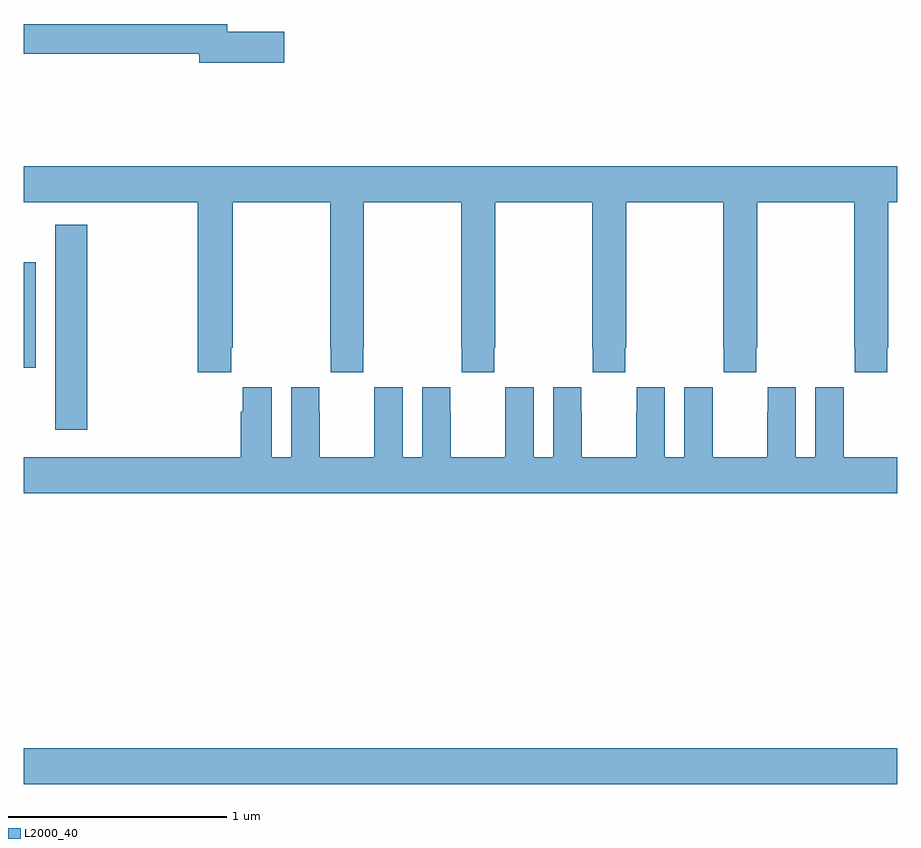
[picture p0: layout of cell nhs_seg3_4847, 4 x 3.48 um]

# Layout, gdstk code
import gdstk
lib = gdstk.Library(unit=1e-6, precision=1e-09)
def R(c, l, rs):  # rectangles x0, y0, x1, y1
    for r in rs: c.add(gdstk.rectangle(r[:2], r[2:], *l))
def P(c, l, *ps):  # polygons
    for p in ps: c.add(gdstk.Polygon(p, *l))
L2000_40 = (2000, 40)

nhs_seg3_4847 = lib.new_cell('nhs_seg3_4847')
R(nhs_seg3_4847, L2000_40, [(371,740.876,375,741.04), (371.144,742.497,371.291,743.437), (371,742.782,371.055,743.265)])
P(nhs_seg3_4847, L2000_40, [(372.193,744.32),(371.932,744.32),(371.932,744.356),(371,744.356),(371,744.22),(371.804,744.22),(371.804,744.178),(372.193,744.178)],
  [(371.951,742.873),(371.958,742.873),(371.958,743.54),(372.403,743.54),(372.403,742.873),(372.405,742.873),(372.405,742.761),(372.555,742.761),(372.555,742.873),(372.558,742.873),(372.558,743.54),(373.003,743.54),(373.003,742.873),(373.005,742.873),(373.005,742.761),(373.155,742.761),(373.155,742.873),(373.158,742.873),(373.158,743.54),(373.603,743.54),(373.603,742.873),(373.605,742.873),(373.605,742.761),(373.755,742.761),(373.755,742.873),(373.758,742.873),(373.758,743.54),(374.203,743.54),(374.203,742.873),(374.205,742.873),(374.205,742.761),(374.355,742.761),(374.355,742.873),(374.358,742.873),(374.358,743.54),(374.803,743.54),(374.803,742.873),(374.805,742.873),(374.805,742.761),(374.955,742.761),(374.955,742.873),(374.958,742.873),(374.958,743.54),(375,743.54),(375,743.704),(371,743.704),(371,743.54),(371.798,743.54),(371.798,742.761),(371.951,742.761)],
  [(375,742.372),(374.755,742.372),(374.755,742.58),(374.754,742.58),(374.754,742.693),(374.624,742.693),(374.624,742.372),(374.536,742.372),(374.536,742.693),(374.406,742.693),(374.406,742.58),(374.405,742.58),(374.405,742.372),(374.155,742.372),(374.155,742.58),(374.154,742.58),(374.154,742.693),(374.024,742.693),(374.024,742.372),(373.936,742.372),(373.936,742.693),(373.806,742.693),(373.806,742.58),(373.805,742.58),(373.805,742.372),(373.555,742.372),(373.555,742.58),(373.554,742.58),(373.554,742.693),(373.424,742.693),(373.424,742.372),(373.336,742.372),(373.336,742.693),(373.206,742.693),(373.206,742.58),(373.205,742.58),(373.205,742.372),(372.955,742.372),(372.955,742.58),(372.954,742.58),(372.954,742.693),(372.824,742.693),(372.824,742.372),(372.736,742.372),(372.736,742.693),(372.606,742.693),(372.606,742.58),(372.605,742.58),(372.605,742.372),(372.355,742.372),(372.355,742.58),(372.354,742.58),(372.354,742.693),(372.224,742.693),(372.224,742.372),(372.136,742.372),(372.136,742.693),(372.002,742.693),(372.002,742.58),(371.993,742.58),(371.993,742.372),(371,742.372),(371,742.208),(375,742.208)])

lib.write_gds('nhs_seg3_4847.gds')
